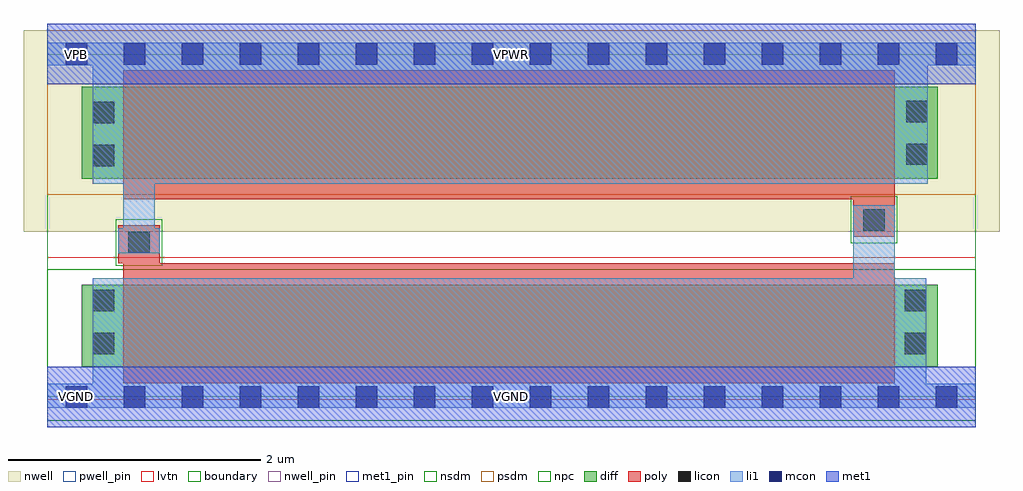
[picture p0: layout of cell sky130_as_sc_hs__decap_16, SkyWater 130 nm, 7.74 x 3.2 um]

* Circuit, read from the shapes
.subckt sky130_as_sc_hs__decap_16 VGND VNB VPB VPWR
XM1 VGND VPWR VGND VNB sky130_fd_pr__nfet_01v8_lvt w=0.65 l=6.12
XM2 VPWR VGND VPWR VPB sky130_fd_pr__pfet_01v8 w=0.73 l=6.12
.ends

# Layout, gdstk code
import gdstk
lib = gdstk.Library(unit=1e-6, precision=1e-09)
def R(c, l, rs):  # rectangles x0, y0, x1, y1
    for r in rs: c.add(gdstk.rectangle(r[:2], r[2:], *l))
def A(c, l, x, y, w, h, nx, ny, dx, dy):  # array of equal rectangles
    R(c, l, [(x+i*dx, y+j*dy, x+i*dx+w, y+j*dy+h) for i in range(nx) for j in range(ny)])
nwell_pin = (64, 16)
nwell = (64, 20)
diff = (65, 20)
poly = (66, 20)
licon = (66, 44)
li1 = (67, 20)
mcon = (67, 44)
met1_pin = (68, 16)
met1 = (68, 20)
nsdm = (93, 44)
psdm = (94, 20)
npc = (95, 20)
pwell_pin = (122, 16)
lvtn = (125, 44)
boundary = (235, 4)

sky130_as_sc_hs__decap_1 = lib.new_cell('sky130_as_sc_hs__decap_16')
R(sky130_as_sc_hs__decap_1, nwell_pin, [(0.145,2.635,0.315,2.805)])
R(sky130_as_sc_hs__decap_1, nwell, [(-0.19,1.31,7.55,2.91)])
R(sky130_as_sc_hs__decap_1, diff, [(0.27,0.24,7.06,0.89), (0.27,1.73,7.06,2.46)])
R(sky130_as_sc_hs__decap_1, poly, [(0.6,0.11,6.72,1.06), (0.56,1.06,0.89,1.36), (6.39,1.27,6.72,1.57), (0.6,1.57,6.72,2.59)])
R(sky130_as_sc_hs__decap_1, licon, [(0.36,0.34,0.53,0.51), (6.8,0.34,6.97,0.51), (0.36,0.68,0.53,0.85), (6.8,0.68,6.97,0.85), (0.64,1.14,0.81,1.31), (6.47,1.32,6.64,1.49), (0.36,1.83,0.53,2), (6.81,1.84,6.98,2.01), (0.36,2.17,0.53,2.34), (6.81,2.18,6.98,2.35)])
R(sky130_as_sc_hs__decap_1, li1, [(0,-0.085,7.36,0.105), (0.36,0.105,6.97,0.94), (6.39,0.94,6.72,1.52), (0.56,1.14,0.89,1.34), (0.6,1.34,0.85,1.69), (0.36,1.69,6.98,2.63), (0,2.63,7.36,2.81)])
A(sky130_as_sc_hs__decap_1, mcon, 0.145, -0.085, 0.17, 0.17, 16, 2, 0.46, 2.72)
R(sky130_as_sc_hs__decap_1, met1_pin, [(0,-0.24,7.36,0.24), (0.145,-0.085,0.315,0.085), (0,2.48,7.36,2.96), (0.145,2.635,0.315,2.805)])
R(sky130_as_sc_hs__decap_1, met1, [(0,-0.24,7.36,0.24), (0,2.48,7.36,2.96)])
R(sky130_as_sc_hs__decap_1, nsdm, [(0,-0.19,7.36,1.015)])
R(sky130_as_sc_hs__decap_1, psdm, [(0,1.605,7.36,2.91)])
R(sky130_as_sc_hs__decap_1, npc, [(0.54,1.04,0.91,1.41), (6.37,1.22,6.74,1.59)])
R(sky130_as_sc_hs__decap_1, pwell_pin, [(0.145,-0.085,0.315,0.085)])
R(sky130_as_sc_hs__decap_1, lvtn, [(0,-0.02,7.36,1.11)])
R(sky130_as_sc_hs__decap_1, boundary, [(0,0,7.36,2.72)])
sky130_as_sc_hs__decap_1.add(gdstk.Label('VPB', (0.23,2.72), layer=64, texttype=5))
sky130_as_sc_hs__decap_1.add(gdstk.Label('VPB', (0.23,2.72), layer=64, texttype=5))
sky130_as_sc_hs__decap_1.add(gdstk.Label('VGND', (0.23,0), layer=68, texttype=5))
sky130_as_sc_hs__decap_1.add(gdstk.Label('VGND', (3.68,0), layer=68, texttype=5))
sky130_as_sc_hs__decap_1.add(gdstk.Label('VPWR', (0.23,2.72), layer=68, texttype=5))
sky130_as_sc_hs__decap_1.add(gdstk.Label('VPWR', (3.68,2.72), layer=68, texttype=5))
sky130_as_sc_hs__decap_1.add(gdstk.Label('VNB', (0.23,0), layer=64, texttype=59))
sky130_as_sc_hs__decap_1.add(gdstk.Label('VNB', (0.23,0), layer=64, texttype=59))

lib.write_gds('sky130_as_sc_hs__decap_16.gds')
